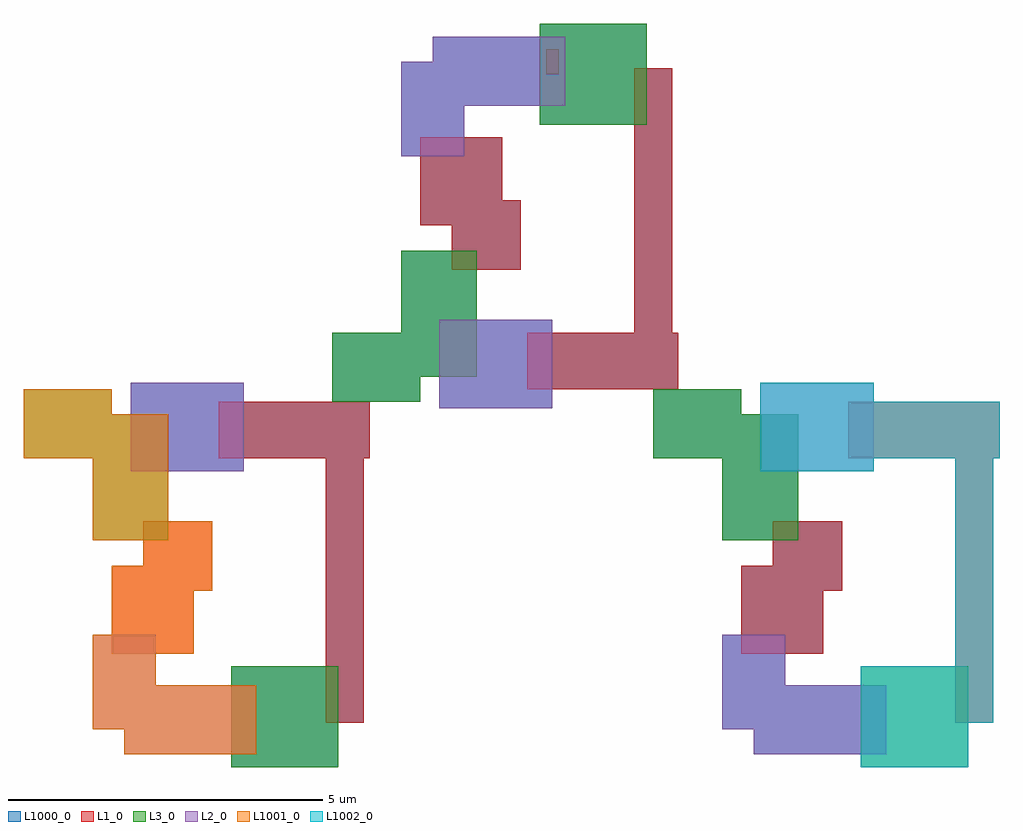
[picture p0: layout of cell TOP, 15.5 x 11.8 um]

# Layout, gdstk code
from math import pi, radians
import gdstk
lib = gdstk.Library(unit=1e-6, precision=1e-09)
def R(c, l, rs):  # rectangles x0, y0, x1, y1
    for r in rs: c.add(gdstk.rectangle(r[:2], r[2:], *l))
L1_0 = (1, 0)
L2_0 = (2, 0)
L3_0 = (3, 0)
L1000_0 = (1000, 0)
L1001_0 = (1001, 0)
L1002_0 = (1002, 0)

conn = lib.new_cell('CONN')
R(conn, L1_0, [(0,0,0.2,0.4)])

c_c1 = lib.new_cell('C1')
R(c_c1, L1_0, [(-2.7,-3.3,-1.8,-0.9), (-2.1,-3.2,2.4,-2.6), (-0.8,-0.8,0.3,0.3), (-0.1,-0.5,1.3,0.8)])
R(c_c1, L2_0, [(1.8,-1.5,2.9,0.6), (-3,-1.3,-1.6,0.5), (1,0.1,2.5,1.1)])
R(c_c1, L3_0, [(1.5,-2.8,3.1,-1.1), (-2.5,-0.1,-0.5,1.1), (-2.9,0.8,-1.8,2.2)])

top = lib.new_cell('TOP')
R(top, L1000_0, [(35.3,-5.2,37,-3.6), (43.6,-5,45.7,-3.9), (43.1,-4.6,44.1,-3.1), (36.8,-4.5,37.4,0), (43.4,-3.4,44.7,-2), (43.9,-2.4,45,-1.3), (43.1,-1.6,44.3,0.4), (33.7,-0.5,35.5,0.9), (35.1,-0.3,37.5,0.6), (42,-0.3,43.4,0.8), (38.6,0.5,40.4,1.9), (36.9,0.6,38.3,1.7), (40,0.8,42.4,1.7), (38,1,39.2,3), (41.7,1.4,42.3,5.9), (38.8,2.7,39.9,3.8), (38.3,3.4,39.6,4.8), (38,4.5,39,6), (40.2,5,41.9,6.6), (38.5,5.3,40.6,6.4), (40.3,5.8,40.5,6.2)])
R(top, L1001_0, [(33.6,-5,35.7,-3.9), (33.1,-4.6,34.1,-3.1), (33.4,-3.4,34.7,-2), (33.9,-2.4,35,-1.3), (33.1,-1.6,34.3,0.4), (32,-0.3,33.4,0.8)])
R(top, L1002_0, [(45.3,-5.2,47,-3.6), (46.8,-4.5,47.4,0), (43.7,-0.5,45.5,0.9), (45.1,-0.3,47.5,0.6)])
top.add(gdstk.Reference(conn, (40.3,5.8)))
top.add(gdstk.Reference(c_c1, (34.2,-2.1), rotation=3*pi/2, x_reflection=True))
top.add(gdstk.Reference(c_c1, (44.2,-2.1), rotation=3*pi/2, x_reflection=True))
top.add(gdstk.Reference(c_c1, (39.1,3.5), rotation=pi/2))

lib.write_gds('TOP.gds')
